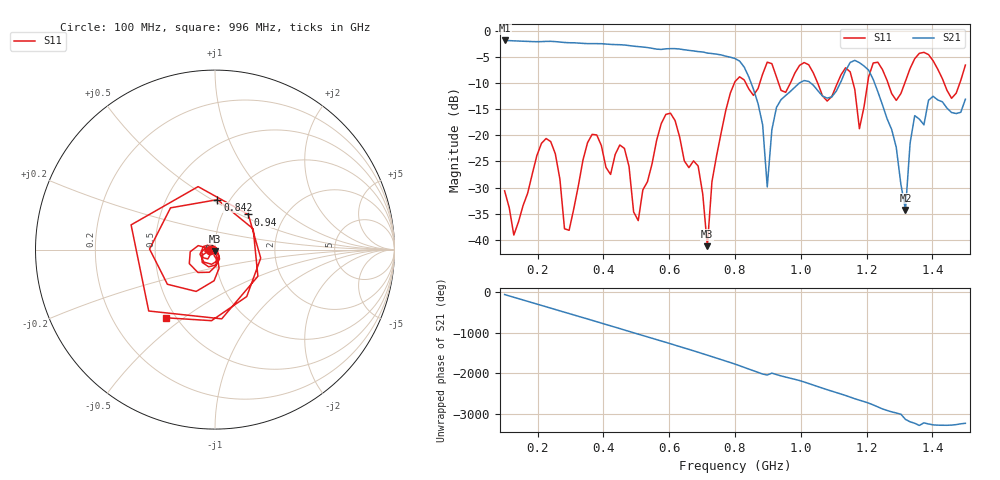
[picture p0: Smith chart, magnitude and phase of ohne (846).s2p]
! NanoVNA-App
! Date: 2025-09-25 14:27:23
! Start: 100MHz Stop: 1,5GHz Points: 101
! S-Parameter data: F S11 S21 S12 S22
# Hz S RI R 50
!  Frequency  S11_Real  S11_Imag  S21_Real  S21_Imag  S12_Real  S12_Imag  S22_Real  S22_Imag
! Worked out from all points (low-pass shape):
!   101 points, 100 MHz to 1.5 GHz, reference 50 ohm
!   highest |S21| = -1.79 dB at 100 MHz (marker M1); lowest = -34.3 dB at 1.318 GHz (marker M2)
!   |S21| within 3 dB of the highest: start of sweep to 771 MHz
!   lowest |S11| = -41.2 dB at 716 MHz (marker M3), VSWR 1.02, Z = 49.8 - j0.831 ohm
!   |S11| at or under -10 dB: start of sweep to 797.9 MHz; 833.1 MHz to 875.1 MHz (42.01 MHz wide, 4.92 % of centre); 1.051 GHz to 1.111 GHz (59.46 MHz wide, 5.5 % of centre)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
!   S12 and S22 are empty: the file has one direction only
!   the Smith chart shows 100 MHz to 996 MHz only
!   S11 on the Smith chart (normalised r, x): 100 MHz: 0.94, -0.01; 842 MHz: 0.88, +0.53; 940 MHz: 1.32, +0.56; 996 MHz: 0.44, -0.43
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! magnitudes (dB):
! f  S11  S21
! 100 MHz  -30.6  -1.8
! 128 MHz  -39.1  -1.9
! 226 MHz  -20.6  -2.0
! 296 MHz  -38.2  -2.2
! 338 MHz  -24.8  -2.4
! 464 MHz  -22.5  -2.7
! 506 MHz  -36.3  -3.0
! 576 MHz  -17.7  -3.5
! 688 MHz  -25.9  -3.9
! 716 MHz  -41.2  -4.2
! 800 MHz  -9.7  -5.3
! 842 MHz  -11.1  -8.8
! 898 MHz  -6.0  -29.9
! 940 MHz  -11.4  -13.1
! 996 MHz  -6.6  -9.9
! 1.038 GHz  -8.0  -10.4
! 1.178 GHz  -18.7  -6.1
! 1.22 GHz  -6.1  -9.3
! 1.276 GHz  -12.0  -18.9
! 1.318 GHz  -9.6  -34.3
! 1.346 GHz  -5.3  -16.2
! 1.5 GHz  -6.5  -13.1
